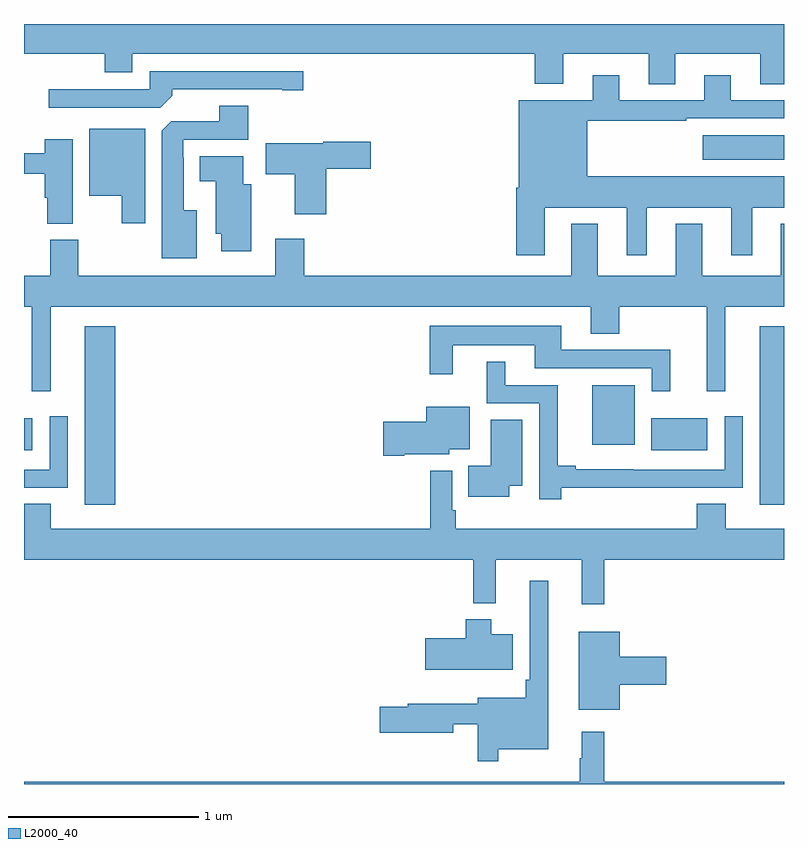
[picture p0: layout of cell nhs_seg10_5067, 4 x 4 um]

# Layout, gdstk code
import gdstk
lib = gdstk.Library(unit=1e-6, precision=1e-09)
def R(c, l, rs):  # rectangles x0, y0, x1, y1
    for r in rs: c.add(gdstk.rectangle(r[:2], r[2:], *l))
def P(c, l, *ps):  # polygons
    for p in ps: c.add(gdstk.Polygon(p, *l))
L2000_40 = (2000, 40)

nhs_seg10_5067 = lib.new_cell('nhs_seg10_5067')
R(nhs_seg10_5067, L2000_40, [(405.32,1269.969,405.479,1270.909), (408.872,1269.969,409,1270.909), (405,1270.256,405.043,1270.426), (408.302,1270.256,408.595,1270.426), (407.99,1270.286,408.214,1270.6), (408.573,1271.786,409,1271.914)])
P(nhs_seg10_5067, L2000_40, [(408.427,1272.344),(408.875,1272.344),(408.875,1272.184),(409,1272.184),(409,1272.5),(405,1272.5),(405,1272.344),(405.424,1272.344),(405.424,1272.245),(405.571,1272.245),(405.571,1272.344),(407.687,1272.344),(407.687,1272.185),(407.839,1272.185),(407.839,1272.344),(408.287,1272.344),(408.287,1272.184),(408.427,1272.184)],
  [(405.779,1272.122),(405.779,1272.156),(406.358,1272.156),(406.358,1272.151),(406.471,1272.151),(406.471,1272.252),(405.663,1272.252),(405.663,1272.156),(405.129,1272.156),(405.129,1272.06),(405.717,1272.06)],
  [(407.74,1271.534),(408.173,1271.534),(408.173,1271.283),(408.277,1271.283),(408.277,1271.534),(408.722,1271.534),(408.722,1271.283),(408.832,1271.283),(408.832,1271.534),(409,1271.534),(409,1271.698),(407.965,1271.698),(407.965,1271.991),(408.485,1271.991),(408.485,1272.003),(409,1272.003),(409,1272.099),(408.721,1272.099),(408.721,1272.229),(408.581,1272.229),(408.581,1272.099),(408.133,1272.099),(408.133,1272.229),(407.993,1272.229),(407.993,1272.1),(407.603,1272.1),(407.603,1271.638),(407.591,1271.638),(407.591,1271.283),(407.74,1271.283)],
  [(405.91,1271.521),(405.841,1271.521),(405.841,1271.795),(405.837,1271.795),(405.837,1271.892),(406.181,1271.892),(406.181,1272.071),(406.028,1272.071),(406.028,1271.988),(405.774,1271.988),(405.725,1271.939),(405.725,1271.267),(405.91,1271.267)],
  [(405.637,1271.95),(405.344,1271.95),(405.344,1271.597),(405.515,1271.597),(405.515,1271.451),(405.637,1271.451)],
  [(405.256,1271.893),(405.11,1271.893),(405.11,1271.821),(405,1271.821),(405,1271.711),(405.11,1271.711),(405.11,1271.585),(405.122,1271.585),(405.122,1271.449),(405.256,1271.449)],
  [(406.592,1271.738),(406.825,1271.738),(406.825,1271.88),(406.575,1271.88),(406.575,1271.872),(406.272,1271.872),(406.272,1271.71),(406.424,1271.71),(406.424,1271.499),(406.592,1271.499)],
  [(406.195,1271.656),(406.153,1271.656),(406.153,1271.803),(405.926,1271.803),(405.926,1271.672),(406.01,1271.672),(406.01,1271.397),(406.037,1271.397),(406.037,1271.304),(406.195,1271.304)],
  [(405.14,1271.012),(407.984,1271.012),(407.984,1270.87),(408.132,1270.87),(408.132,1271.012),(408.593,1271.012),(408.593,1270.566),(408.692,1270.566),(408.692,1271.012),(409,1271.012),(409,1271.449),(408.983,1271.449),(408.983,1271.176),(408.571,1271.176),(408.571,1271.449),(408.431,1271.449),(408.431,1271.176),(408.019,1271.176),(408.019,1271.449),(407.879,1271.449),(407.879,1271.176),(406.475,1271.176),(406.475,1271.371),(406.322,1271.371),(406.322,1271.176),(405.285,1271.176),(405.285,1271.364),(405.137,1271.364),(405.137,1271.176),(405,1271.176),(405,1271.012),(405.041,1271.012),(405.041,1270.566),(405.14,1270.566)],
  [(408.401,1270.785),(407.827,1270.785),(407.827,1270.912),(407.136,1270.912),(407.136,1270.656),(407.257,1270.656),(407.257,1270.808),(407.687,1270.808),(407.687,1270.689),(408.303,1270.689),(408.303,1270.566),(408.401,1270.566)],
  [(407.828,1270.058),(408.458,1270.058),(408.458,1270.059),(408.783,1270.059),(408.783,1270.435),(408.687,1270.435),(408.687,1270.155),(408.206,1270.155),(408.206,1270.156),(407.905,1270.156),(407.905,1270.175),(407.81,1270.175),(407.81,1270.599),(407.533,1270.599),(407.533,1270.723),(407.435,1270.723),(407.435,1270.503),(407.712,1270.503),(407.712,1269.999),(407.828,1269.999)],
  [(407.002,1270.235),(407.238,1270.235),(407.238,1270.262),(407.347,1270.262),(407.347,1270.486),(407.117,1270.486),(407.117,1270.406),(406.89,1270.406),(406.89,1270.228),(407.002,1270.228)],
  [(405.231,1270.435),(405.135,1270.435),(405.135,1270.155),(405,1270.155),(405,1270.059),(405.231,1270.059)],
  [(407.554,1270.07),(407.623,1270.07),(407.623,1270.418),(407.456,1270.418),(407.456,1270.174),(407.338,1270.174),(407.338,1270.013),(407.554,1270.013)],
  [(407.253,1269.94),(407.253,1270.15),(407.137,1270.15),(407.137,1269.844),(405.142,1269.844),(405.142,1269.974),(405,1269.974),(405,1269.68),(407.365,1269.68),(407.365,1269.452),(407.483,1269.452),(407.483,1269.68),(407.936,1269.68),(407.936,1269.447),(408.053,1269.447),(408.053,1269.68),(409,1269.68),(409,1269.844),(408.694,1269.844),(408.694,1269.974),(408.542,1269.974),(408.542,1269.844),(407.273,1269.844),(407.273,1269.94)],
  [(407.497,1268.684),(407.758,1268.684),(407.758,1269.571),(407.661,1269.571),(407.661,1269.049),(407.641,1269.049),(407.641,1268.953),(407.387,1268.953),(407.387,1268.923),(407.021,1268.923),(407.021,1268.906),(406.872,1268.906),(406.872,1268.771),(407.26,1268.771),(407.26,1268.814),(407.388,1268.814),(407.388,1268.619),(407.497,1268.619)],
  [(407.572,1269.289),(407.458,1269.289),(407.458,1269.367),(407.324,1269.367),(407.324,1269.267),(407.112,1269.267),(407.112,1269.101),(407.572,1269.101)],
  [(408.136,1269.023),(408.379,1269.023),(408.379,1269.17),(408.136,1269.17),(408.136,1269.301),(407.921,1269.301),(407.921,1268.891),(408.136,1268.891)],
  [(409,1268.512),(408.053,1268.512),(408.053,1268.776),(407.936,1268.776),(407.936,1268.636),(407.925,1268.636),(407.925,1268.512),(405,1268.512),(405,1268.5),(409,1268.5)])

lib.write_gds('nhs_seg10_5067.gds')
